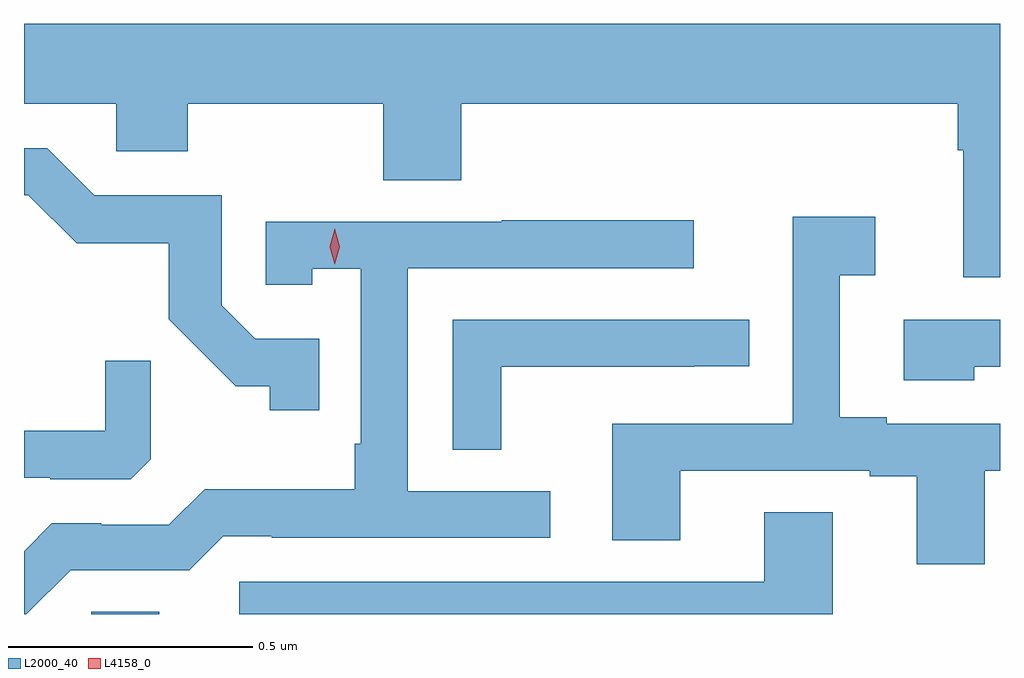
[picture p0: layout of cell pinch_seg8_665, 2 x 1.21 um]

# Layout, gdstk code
import gdstk
lib = gdstk.Library(unit=1e-6, precision=1e-09)
def R(c, l, rs):  # rectangles x0, y0, x1, y1
    for r in rs: c.add(gdstk.rectangle(r[:2], r[2:], *l))
def P(c, l, *ps):  # polygons
    for p in ps: c.add(gdstk.Polygon(p, *l))
L2000_40 = (2000, 40)
L4158_0 = (4158, 0)

pinch_seg8_665 = lib.new_cell('pinch_seg8_665')
R(pinch_seg8_665, L2000_40, [(350.214,1114.121,350.353,1114.127)])
P(pinch_seg8_665, L2000_40, [(352.076,1115.332),(350.076,1115.332),(350.076,1115.168),(350.265,1115.168),(350.265,1115.07),(350.412,1115.07),(350.412,1115.168),(350.812,1115.168),(350.812,1115.011),(350.972,1115.011),(350.972,1115.168),(351.989,1115.168),(351.989,1115.072),(352.001,1115.072),(352.001,1114.812),(352.076,1114.812)],
  [(350.681,1114.686),(350.55,1114.686),(350.481,1114.755),(350.481,1114.98),(350.22,1114.98),(350.124,1115.076),(350.076,1115.076),(350.076,1114.98),(350.085,1114.98),(350.184,1114.882),(350.373,1114.882),(350.373,1114.726),(350.51,1114.589),(350.58,1114.589),(350.58,1114.539),(350.681,1114.539)],
  [(352.045,1114.416),(352.076,1114.416),(352.076,1114.512),(351.844,1114.512),(351.844,1114.525),(351.748,1114.525),(351.748,1114.816),(351.82,1114.816),(351.82,1114.936),(351.651,1114.936),(351.651,1114.512),(351.281,1114.512),(351.281,1114.273),(351.421,1114.273),(351.421,1114.416),(351.809,1114.416),(351.809,1114.404),(351.905,1114.404),(351.905,1114.224),(352.045,1114.224)],
  [(350.172,1114.212),(350.415,1114.212),(350.484,1114.281),(350.584,1114.281),(350.584,1114.278),(351.154,1114.278),(351.154,1114.374),(350.862,1114.374),(350.862,1114.83),(351.448,1114.83),(351.448,1114.929),(351.055,1114.929),(351.055,1114.926),(350.571,1114.926),(350.571,1114.797),(350.667,1114.797),(350.667,1114.829),(350.766,1114.829),(350.766,1114.471),(350.754,1114.471),(350.754,1114.378),(350.446,1114.378),(350.373,1114.305),(350.234,1114.305),(350.234,1114.308),(350.133,1114.308),(350.076,1114.251),(350.076,1114.121),(350.081,1114.121)],
  [(351.054,1114.629),(351.449,1114.629),(351.449,1114.63),(351.562,1114.63),(351.562,1114.725),(350.955,1114.725),(350.955,1114.459),(351.054,1114.459)],
  [(352.023,1114.629),(352.076,1114.629),(352.076,1114.725),(351.879,1114.725),(351.879,1114.601),(352.023,1114.601)],
  [(350.336,1114.439),(350.336,1114.641),(350.242,1114.641),(350.242,1114.498),(350.076,1114.498),(350.076,1114.401),(350.13,1114.401),(350.13,1114.398),(350.295,1114.398)],
  [(351.733,1114.331),(351.593,1114.331),(351.593,1114.188),(350.517,1114.188),(350.517,1114.121),(351.733,1114.121)])
P(pinch_seg8_665, L4158_0, [(350.713,1114.839),(350.713,1114.839),(350.703,1114.875),(350.713,1114.911),(350.713,1114.911),(350.713,1114.911),(350.723,1114.875),(350.713,1114.839)])

lib.write_gds('pinch_seg8_665.gds')
